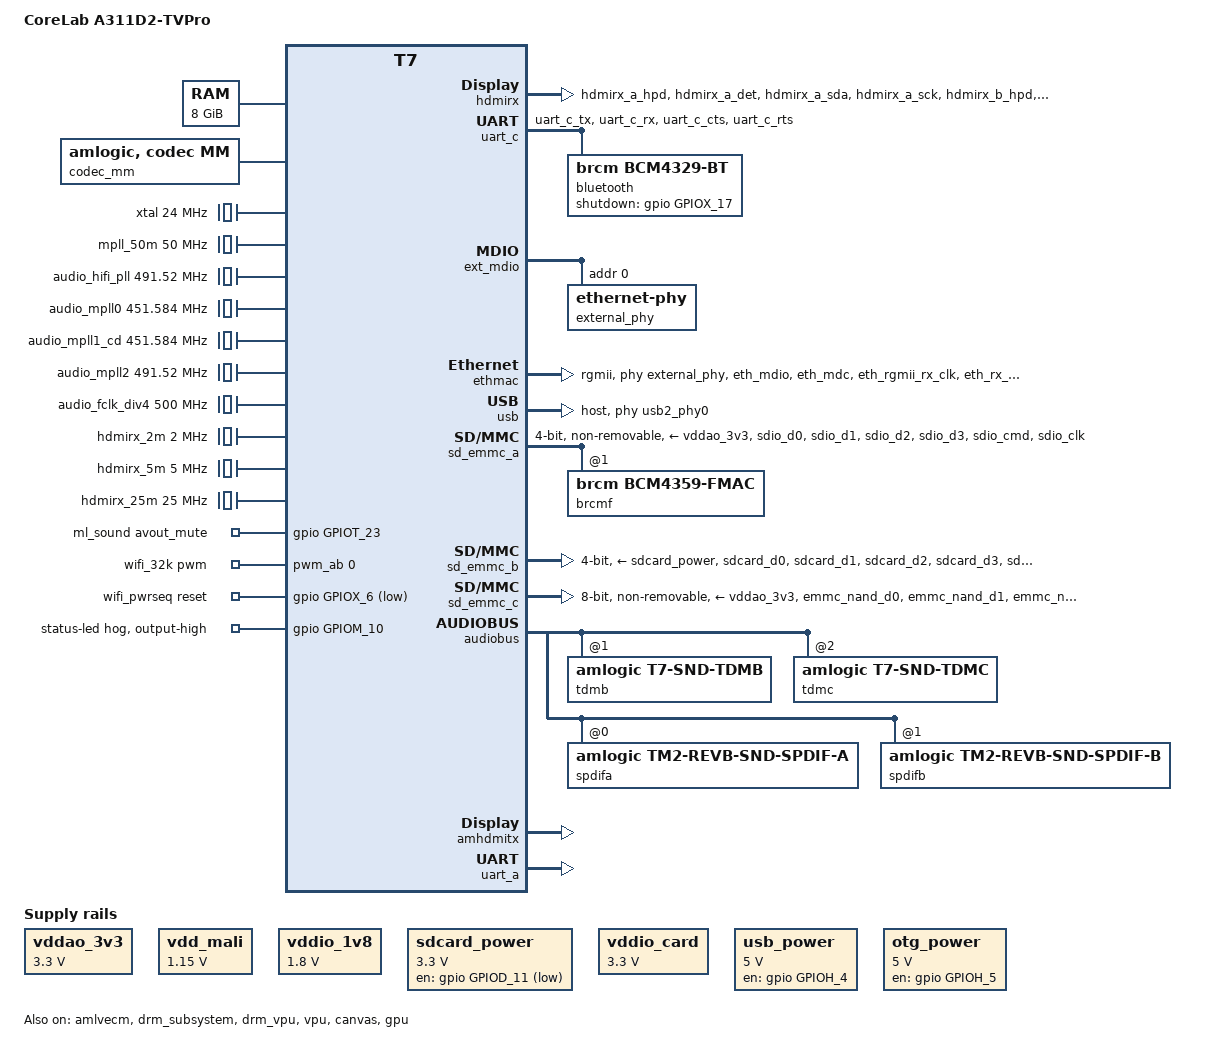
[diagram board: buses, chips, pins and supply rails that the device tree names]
// SPDX-License-Identifier: (GPL-2.0+ OR MIT)
/*
 * Minimal Linux v7.1 TVPRO bring-up device tree.
 *
 * This intentionally starts from upstream T7 support and only carries the
 * board data needed before enabling the 5.15 vendor multimedia stack.
 */

/dts-v1/;

#include <dt-bindings/clock/amlogic,t7-peripherals-clkc.h>
#include <dt-bindings/gpio/amlogic,t7-periphs-pinctrl.h>
#include <dt-bindings/gpio/gpio.h>
#include "amlogic-t7.dtsi"

/ {
	model = "CoreLab A311D2-TVPro";
	compatible = "corelab,a311d2-tvpro", "amlogic,a311d2", "amlogic,t7";

	aliases {
		ethernet0 = &ethmac;
		serial0 = &uart_a;
		serial1 = &uart_c;
		mmc0 = &sd_emmc_c;
		mmc1 = &sd_emmc_b;
		mmc2 = &sd_emmc_a;
	};

	chosen {
		stdout-path = "serial0:921600n8";
	};

	memory@0 {
		device_type = "memory";
		reg = <0x0 0x0 0x0 0xe0000000
		       0x1 0x0 0x0 0xe0000000
		       0x2 0x0 0x0 0x40000000>; /* 8 GB */
		linux,usable-memory = <0x0 0x0 0x0 0xe0000000
				       0x1 0x0 0x0 0xe0000000
				       0x2 0x0 0x0 0x40000000>;
	};

	reserved-memory {
		#address-cells = <2>;
		#size-cells = <2>;
		ranges;

		ramoops@8400000 {
			compatible = "ramoops";
			reg = <0x0 0x08400000 0x0 0x00100000>;
			record-size = <0x20000>;
			console-size = <0x40000>;
			ftrace-size = <0x80000>;
			pmsg-size = <0x20000>;
		};

		logo_reserved: linux,meson-fb {
			compatible = "amlogic, meson-fb";
			reusable;
			size = <0x0 0x00800000>;
			alignment = <0x0 0x00400000>;
			reg = <0x0 0x3f800000 0x0 0x00800000>;
		};

		codec_mm_cma: linux,codec_mm_cma {
			compatible = "shared-dma-pool";
			reusable;
			size = <0x0 0x40000000>;
			alignment = <0x0 0x00400000>;
			linux,contiguous-region;
			alloc-ranges = <0x0 0x0 0x0 0xe0000000>;
			clear-map;
		};

		vdin1_cma_reserved: linux,vdin1_cma {
			compatible = "shared-dma-pool";
			reusable;
			size = <0x0 0x20000000>;
			alignment = <0x0 0x00400000>;
			alloc-ranges = <0x0 0x0 0x0 0xe0000000>;
		};

		/* Vendor U-Boot hardcodes this node path during rsvmem check. */
		secmon_reserved: linux,secmon {
			compatible = "shared-dma-pool";
			no-map;
			size = <0x0 0x03400000>;
			alignment = <0x0 0x00400000>;
			alloc-ranges = <0x0 0x05000000 0x0 0x03400000>;
		};
	};

	partitions: partitions {
		parts = <1>;
		part-0 = <&rootfs>;

		rootfs: rootfs {
			pname = "rootfs";
			size = <0xffffffff 0xffffffff>;
			mask = <4>;
		};
	};

	secmon {
		compatible = "amlogic, secmon";
		memory-region = <&secmon_reserved>;
		in_base_func = <0x82000020>;
		out_base_func = <0x82000021>;
		inout_size_func = <0x8200002a>;
		reserve_mem_size = <0x03300000>;
	};

	codec_mm {
		compatible = "amlogic, codec, mm";
		memory-region = <&codec_mm_cma>;
		dev_name = "codec_mm";
		status = "okay";
	};

	canvas: canvas {
		compatible = "amlogic, meson, canvas";
		dev_name = "amlogic-canvas";
		status = "okay";
		reg = <0x0 0xfe036048 0x0 0x2000>;
	};

	meson_uvm {
		compatible = "amlogic, meson_uvm";
		status = "okay";
	};

	meson_videotunnel {
		compatible = "amlogic, meson_videotunnel";
		status = "okay";
	};

	video_composer {
		compatible = "amlogic, video_composer";
		dev_name = "video_composer";
		status = "okay";
	};

	amvideom: meson-amvideom {
		compatible = "amlogic, amvideom-t7";
		dev_name = "amvideom";
		status = "okay";
		interrupts = <GIC_SPI 197 IRQ_TYPE_EDGE_RISING>,
			     <GIC_SPI 194 IRQ_TYPE_EDGE_RISING>,
			     <GIC_SPI 82 IRQ_TYPE_EDGE_RISING>;
		interrupt-names = "vsync", "vsync_viu2", "vsync_viu3";
	};

	vpu_security {
		compatible = "amlogic, meson-t7, vpu_security";
		dev_name = "amlogic-vpu-security";
		status = "okay";
		interrupts = <GIC_SPI 220 IRQ_TYPE_EDGE_RISING>;
		interrupt-names = "vpu_security";
	};

	xtal: xtal-clk {
		compatible = "fixed-clock";
		clock-frequency = <24000000>;
		clock-output-names = "xtal";
		#clock-cells = <0>;
	};

	/* Temporary parent clocks until the full T7 SCMI/PLL map is safe to enable. */
	sys_clk: sys-clk {
		compatible = "fixed-clock";
		clock-frequency = <166666666>;
		clock-output-names = "sys";
		#clock-cells = <0>;
	};

	fixed_pll: fixed-pll-clk {
		compatible = "fixed-clock";
		clock-frequency = <2000000000>;
		clock-output-names = "fix";
		#clock-cells = <0>;
	};

	fdiv2: fdiv2-clk {
		compatible = "fixed-clock";
		clock-frequency = <1000000000>;
		clock-output-names = "fdiv2";
		#clock-cells = <0>;
	};

	fdiv2p5: fdiv2p5-clk {
		compatible = "fixed-clock";
		clock-frequency = <800000000>;
		clock-output-names = "fdiv2p5";
		#clock-cells = <0>;
	};

	fdiv3: fdiv3-clk {
		compatible = "fixed-clock";
		clock-frequency = <666666666>;
		clock-output-names = "fdiv3";
		#clock-cells = <0>;
	};

	fdiv4: fdiv4-clk {
		compatible = "fixed-clock";
		clock-frequency = <500000000>;
		clock-output-names = "fdiv4";
		#clock-cells = <0>;
	};

	fdiv5: fdiv5-clk {
		compatible = "fixed-clock";
		clock-frequency = <400000000>;
		clock-output-names = "fdiv5";
		#clock-cells = <0>;
	};

	fdiv7: fdiv7-clk {
		compatible = "fixed-clock";
		clock-frequency = <285714285>;
		clock-output-names = "fdiv7";
		#clock-cells = <0>;
	};

	hifi: hifi-clk {
		compatible = "fixed-clock";
		clock-frequency = <500000000>;
		clock-output-names = "hifi";
		#clock-cells = <0>;
	};

	gp0: gp0-clk {
		compatible = "fixed-clock";
		clock-frequency = <1000000000>;
		clock-output-names = "gp0";
		#clock-cells = <0>;
	};

	gp1: gp1-clk {
		compatible = "fixed-clock";
		clock-frequency = <1000000000>;
		clock-output-names = "gp1";
		#clock-cells = <0>;
	};

	mpll1: mpll1-clk {
		compatible = "fixed-clock";
		clock-frequency = <500000000>;
		clock-output-names = "mpll1";
		#clock-cells = <0>;
	};

	mpll2: mpll2-clk {
		compatible = "fixed-clock";
		clock-frequency = <500000000>;
		clock-output-names = "mpll2";
		#clock-cells = <0>;
	};

	mpll_50m: mpll-50m-clk {
		compatible = "fixed-clock";
		clock-frequency = <50000000>;
		clock-output-names = "mpll_50m";
		#clock-cells = <0>;
	};

	audio_hifi_pll: audio-hifi-pll-clk {
		compatible = "fixed-clock";
		clock-frequency = <491520000>;
		clock-output-names = "hifi_pll";
		#clock-cells = <0>;
	};

	audio_mpll0: audio-mpll0-clk {
		compatible = "fixed-clock";
		clock-frequency = <451584000>;
		clock-output-names = "mpll0";
		#clock-cells = <0>;
	};

	audio_mpll1_cd: audio-mpll1-cd-clk {
		compatible = "fixed-clock";
		clock-frequency = <451584000>;
		clock-output-names = "mpll1_cd";
		#clock-cells = <0>;
	};

	audio_mpll2: audio-mpll2-clk {
		compatible = "fixed-clock";
		clock-frequency = <491520000>;
		clock-output-names = "mpll2";
		#clock-cells = <0>;
	};

	audio_fclk_div4: audio-fclk-div4-clk {
		compatible = "fixed-clock";
		clock-frequency = <500000000>;
		clock-output-names = "fclk_div4";
		#clock-cells = <0>;
	};

	hdmirx_2m: hdmirx-2m-clk {
		compatible = "fixed-clock";
		clock-frequency = <2000000>;
		clock-output-names = "hdmirx_2m";
		#clock-cells = <0>;
	};

	hdmirx_5m: hdmirx-5m-clk {
		compatible = "fixed-clock";
		clock-frequency = <5000000>;
		clock-output-names = "hdmirx_5m";
		#clock-cells = <0>;
	};

	hdmirx_25m: hdmirx-25m-clk {
		compatible = "fixed-clock";
		clock-frequency = <25000000>;
		clock-output-names = "hdmirx_25m";
		#clock-cells = <0>;
	};

	ml_sound: auge-sound {
		compatible = "amlogic, auge-sound-card";
		aml-audio-card,name = "AML-AUGESOUND";
		avout_mute-gpios = <&gpio GPIOT_23 GPIO_ACTIVE_HIGH>;
		interrupts = <GIC_SPI 51 IRQ_TYPE_EDGE_RISING>;
		interrupt-names = "audio_exception64";
		#address-cells = <1>;
		#size-cells = <0>;
		status = "okay";

		aml-audio-card,dai-link@0 {
			reg = <0>;
			format = "i2s";
			mclk-fs = <256>;
			bitclock-master = <&tdmc>;
			frame-master = <&tdmc>;
			suffix-name = "alsaPORT-i2s4parser";

			cpu {
				sound-dai = <&tdmc>;
				dai-tdm-slot-tx-mask = <1 1>;
				dai-tdm-slot-rx-mask = <1 1>;
				dai-tdm-slot-num = <2>;
				dai-tdm-slot-width = <32>;
				system-clock-frequency = <12288000>;
			};

			codec {
				sound-dai = <&dummy_codec>;
			};
		};

		aml-audio-card,dai-link@1 {
			reg = <1>;
			mclk-fs = <128>;
			continuous-clock;
			suffix-name = "alsaPORT-spdif";

			cpu {
				sound-dai = <&spdifa>;
				system-clock-frequency = <6144000>;
			};

			codec {
				sound-dai = <&dummy_codec>;
			};
		};

		aml-audio-card,dai-link@2 {
			reg = <2>;
			format = "i2s";
			mclk-fs = <256>;
			continuous-clock;
			bitclock-master = <&tdmb>;
			frame-master = <&tdmb>;
			suffix-name = "alsaPORT-i2s-acodec";

			cpu {
				sound-dai = <&tdmb>;
				dai-tdm-slot-tx-mask = <1 1>;
				dai-tdm-slot-rx-mask = <1 1>;
				dai-tdm-slot-num = <2>;
				dai-tdm-slot-width = <32>;
				system-clock-frequency = <12288000>;
			};

			codec {
				sound-dai = <&acodec>;
			};
		};

		aml-audio-card,dai-link@3 {
			reg = <3>;
			mclk-fs = <128>;
			suffix-name = "alsaPORT-spdifb";

			cpu {
				sound-dai = <&spdifb>;
				system-clock-frequency = <6144000>;
			};

			codec {
				sound-dai = <&dummy_codec>;
			};
		};

	};

	vddao_3v3: regulator-vddao-3v3 {
		compatible = "regulator-fixed";
		regulator-name = "VDDAO_3V3";
		regulator-min-microvolt = <3300000>;
		regulator-max-microvolt = <3300000>;
		regulator-always-on;
	};

	vdd_mali: regulator-vdd-mali {
		compatible = "regulator-fixed";
		regulator-name = "VDD_MALI";
		regulator-min-microvolt = <1150000>;
		regulator-max-microvolt = <1150000>;
		regulator-always-on;
	};

	vddio_1v8: regulator-vddio-1v8 {
		compatible = "regulator-fixed";
		regulator-name = "VDDIO_1V8";
		regulator-min-microvolt = <1800000>;
		regulator-max-microvolt = <1800000>;
		regulator-always-on;
	};

	sdcard_power: regulator-sdcard-power {
		compatible = "regulator-fixed";
		regulator-name = "SDCARD_POWER";
		regulator-min-microvolt = <3300000>;
		regulator-max-microvolt = <3300000>;
		gpio = <&gpio GPIOD_11 GPIO_ACTIVE_LOW>;
		regulator-boot-on;
	};

	vddio_card: regulator-vddio-card {
		compatible = "regulator-gpio";
		regulator-name = "VDDIO_CARD";
		regulator-min-microvolt = <3300000>;
		regulator-max-microvolt = <3300000>;
		gpios = <&gpio GPIOD_9 GPIO_ACTIVE_HIGH>;
		gpios-states = <0>;
		states = <1800000 1>,
			 <3300000 0>;
		regulator-boot-on;
	};

	wifi_32k: wifi-32k-clock {
		compatible = "pwm-clock";
		#clock-cells = <0>;
		clock-frequency = <32768>;
		clock-output-names = "wifi_32k";
		pwms = <&pwm_ab 0 30518 0>;
	};

	wifi_pwrseq: wifi-pwrseq {
		compatible = "mmc-pwrseq-simple";
		clocks = <&wifi_32k>;
		clock-names = "ext_clock";
		reset-gpios = <&gpio GPIOX_6 GPIO_ACTIVE_LOW>;
		post-power-on-delay-ms = <200>;
	};

	usb_power: regulator-usb-power {
		compatible = "regulator-fixed";
		regulator-name = "USB_POWER";
		regulator-min-microvolt = <5000000>;
		regulator-max-microvolt = <5000000>;
		gpio = <&gpio GPIOH_4 GPIO_ACTIVE_HIGH>;
		enable-active-high;
		regulator-boot-on;
		regulator-always-on;
	};

	otg_power: regulator-otg-power {
		compatible = "regulator-fixed";
		regulator-name = "OTG_POWER";
		regulator-min-microvolt = <5000000>;
		regulator-max-microvolt = <5000000>;
		gpio = <&gpio GPIOH_5 GPIO_ACTIVE_HIGH>;
		enable-active-high;
		regulator-boot-on;
		regulator-always-on;
	};

};

&{/} {
	thermal-zones {
		a73_thermal: a73-thermal {
			polling-delay = <1000>;
			polling-delay-passive = <100>;
			thermal-sensors = <&a73_temp>;

			trips {
				a73_passive: a73-passive {
					temperature = <85000>;
					hysteresis = <2000>;
					type = "passive";
				};

				a73_hot: a73-hot {
					temperature = <95000>;
					hysteresis = <2000>;
					type = "hot";
				};

				a73_critical: a73-critical {
					temperature = <110000>;
					hysteresis = <2000>;
					type = "critical";
				};
			};
		};

		a53_thermal: a53-thermal {
			polling-delay = <1000>;
			polling-delay-passive = <100>;
			thermal-sensors = <&a53_temp>;

			trips {
				a53_passive: a53-passive {
					temperature = <85000>;
					hysteresis = <2000>;
					type = "passive";
				};

				a53_hot: a53-hot {
					temperature = <95000>;
					hysteresis = <2000>;
					type = "hot";
				};

				a53_critical: a53-critical {
					temperature = <110000>;
					hysteresis = <2000>;
					type = "critical";
				};
			};
		};
	};

	gpu: gpu@fe400000 {
		compatible = "amlogic,meson-t7-mali", "arm,mali-bifrost";
		reg = <0x0 0xfe400000 0x0 0x4000>;
		interrupt-parent = <&gic>;
		interrupts = <GIC_SPI 146 IRQ_TYPE_LEVEL_HIGH>,
			     <GIC_SPI 145 IRQ_TYPE_LEVEL_HIGH>,
			     <GIC_SPI 144 IRQ_TYPE_LEVEL_HIGH>;
		interrupt-names = "job", "mmu", "gpu";
		clocks = <&clkc_periphs CLKID_MALI>;
		mali-supply = <&vdd_mali>;
		operating-points-v2 = <&gpu_opp_table>;
		power-domains = <&pwrc PWRC_T7_MALI_TOP_ID>;
		resets = <&reset RESET_MALI_CAPB3>, <&reset RESET_MALI>;
		#cooling-cells = <2>;

		assigned-clocks = <&clkc_periphs CLKID_MALI_0_SEL>,
				  <&clkc_periphs CLKID_MALI_0>,
				  <&clkc_periphs CLKID_MALI>;
		assigned-clock-parents = <&fdiv2p5>,
					 <0>,
					 <&clkc_periphs CLKID_MALI_0>;
		assigned-clock-rates = <0>, <800000000>, <0>;
		status = "okay";
	};

	hdmirx: hdmirx {
		compatible = "amlogic, hdmirx_t7";
		status = "okay";
		pinctrl-names = "hdmirx_pins";
		pinctrl-0 = <&hdmirx_a_mux &hdmirx_b_mux &hdmirx_c_mux>;
		repeat = <0>;
		power-domains = <&pwrc PWRC_T7_HDMIRX_ID>;
		interrupts = <GIC_SPI 57 IRQ_TYPE_LEVEL_HIGH>;
		clocks = <&mpll_50m>,
			 <&xtal>,
			 <&xtal>,
			 <&hdmirx_2m>,
			 <&hdmirx_5m>,
			 <&hdmirx_25m>,
			 <&xtal>,
			 <&fdiv4>,
			 <&fdiv5>;
		clock-names = "hdmirx_cfg_clk",
			      "cts_hdmirx_acr_ref_clk",
			      "cts_hdmirx_meter_clk",
			      "cts_hdmirx_2m_clk",
			      "cts_hdmirx_5m_clk",
			      "cts_hdmirx_hdcp2x_eclk",
			      "xtal",
			      "fclk_div4",
			      "fclk_div5";
		hdmirx_id = <0>;
		en_4k_2_2k = <0>;
		hpd_low_cec_off = <1>;
		arc_port = <1>;
		disable_port = <0x0>;
		/* Keep the 5.15 vendor register-map order. */
		reg = <0x0 0x0 0x0 0x0
		       0x0 0xff63c000 0x0 0x2000
		       0x0 0xffe0d000 0x0 0x2000
		       0x0 0x0 0x0 0x0
		       0x0 0x0 0x0 0x0
		       0x0 0x0 0x0 0x0
		       0x0 0xfe398000 0x0 0x18000
		       0x0 0xfe000000 0x0 0x1fff>;
	};

	vdin0: vdin0 {
		compatible = "amlogic, vdin-t7";
		dev_name = "vdin0";
		status = "okay";
		reserve-iomap = "true";
		flag_cma = <0x101>;
		cma_size = <280>;
		frame_buff_num = <10>;
		interrupts = <GIC_SPI 210 IRQ_TYPE_EDGE_RISING>,
			     <GIC_SPI 214 IRQ_TYPE_EDGE_RISING>;
		interrupt-names = "vsync_int",
				  "mif2_meta_wr_done_int";
		rdma-irq = <2>;
		clocks = <&fdiv5>, <&clkc_periphs CLKID_VDIN_MEAS_GATE>;
		clock-names = "fclk_div5", "cts_vdin_meas_clk";
		vdin_id = <0>;
		tv_bit_mode = <0x235>;
		afbce_bit_mode = <0x11>;
		v4l_support_en = <0>;
		v4l_vd_num = <70>;
		driver = "vdin_video";
		card = "mesont7";
		bus_info = "vdin0 v4l2";
		version = <0x20220120>;
		fe_ports = <0x00001001
			    0x00004000
			    0x00004001
			    0x00004002>;
		vdin_function_sel = <0x101>;
		double_write_en;
		urgent_en;
	};

	vdin1: vdin1 {
		compatible = "amlogic, vdin-t7";
		dev_name = "vdin1";
		status = "okay";
		reserve-iomap = "true";
		memory-region = <&vdin1_cma_reserved>;
		flag_cma = <0>;
		interrupts = <GIC_SPI 212 IRQ_TYPE_EDGE_RISING>;
		interrupt-names = "vsync_int";
		rdma-irq = <4>;
		vdin_id = <1>;
		tv_bit_mode = <0x15>;
		v4l_support_en = <0>;
		v4l_vd_num = <71>;
		driver = "vdin_video";
		card = "mesont7";
		bus_info = "vdin1 v4l2";
		version = <0x20220120>;
		fe_ports = <0x0000a002
			    0x0000a003
			    0x0000a004
			    0x0000a005
			    0x0000a006
			    0x0000a007
			    0x0000a008>;
		vdin_function_sel = <0x400>;
	};
};

&apb4 {
	clkc_periphs: clock-controller@0 {
		compatible = "amlogic,t7-peripherals-clkc";
		reg = <0x0 0x0 0x0 0x1c8>;
		#clock-cells = <1>;
		clocks = <&xtal>,
			 <&sys_clk>,
			 <&fixed_pll>,
			 <&fdiv2>,
			 <&fdiv2p5>,
			 <&fdiv3>,
			 <&fdiv4>,
			 <&fdiv5>,
			 <&fdiv7>,
			 <&hifi>,
			 <&gp0>,
			 <&gp1>,
			 <&mpll1>,
			 <&mpll2>;
		clock-names = "xtal",
			      "sys",
			      "fix",
			      "fdiv2",
			      "fdiv2p5",
			      "fdiv3",
			      "fdiv4",
			      "fdiv5",
			      "fdiv7",
			      "hifi",
			      "gp0",
			      "gp1",
			      "mpll1",
			      "mpll2";
	};

	uart_c: serial@7c000 {
		compatible = "amlogic,t7-uart", "amlogic,meson-s4-uart";
		reg = <0x0 0x7c000 0x0 0x18>;
		interrupts = <GIC_SPI 170 IRQ_TYPE_EDGE_RISING>;
		status = "disabled";
	};

	eth_phy: mdio-multiplexer@28000 {
		compatible = "amlogic,g12a-mdio-mux";
		reg = <0x0 0x28000 0x0 0xa4>;
		clocks = <&clkc_periphs CLKID_SYS_ETHPHY>,
			 <&xtal>,
			 <&mpll_50m>;
		clock-names = "pclk", "clkin0", "clkin1";
		mdio-parent-bus = <&mdio0>;
		#address-cells = <1>;
		#size-cells = <0>;

		ext_mdio: mdio@0 {
			reg = <0>;
			#address-cells = <1>;
			#size-cells = <0>;

			external_phy: ethernet-phy@0 {
				reg = <0>;
				max-speed = <1000>;
				reset-assert-us = <20000>;
				reset-deassert-us = <50000>;
			};
		};
	};
};

&gpio {
	status_led_hog: status-led-hog {
		gpio-hog;
		gpios = <GPIOM_10 GPIO_ACTIVE_HIGH>;
		output-high;
		line-name = "status-led";
	};
};

&periphs_pinctrl {
	eth_pins: eth-pins {
		mux {
			groups = "eth_mdio",
				 "eth_mdc",
				 "eth_rgmii_rx_clk",
				 "eth_rx_dv",
				 "eth_rxd0",
				 "eth_rxd1",
				 "eth_txen",
				 "eth_txd0",
				 "eth_txd1";
			function = "eth";
			bias-disable;
			drive-strength-microamp = <4000>;
		};
	};

	eth_rgmii_pins: eth-rgmii-pins {
		mux {
			groups = "eth_rxd2_rgmii",
				 "eth_rxd3_rgmii",
				 "eth_rgmii_tx_clk",
				 "eth_txd2_rgmii",
				 "eth_txd3_rgmii";
			function = "eth";
			bias-disable;
			drive-strength-microamp = <4000>;
		};
	};

	hdmirx_a_mux: hdmirx-a-mux {
		mux {
			groups = "hdmirx_a_hpd",
				 "hdmirx_a_det",
				 "hdmirx_a_sda",
				 "hdmirx_a_sck";
			function = "hdmirx_a";
		};
	};

	hdmirx_b_mux: hdmirx-b-mux {
		mux {
			groups = "hdmirx_b_hpd",
				 "hdmirx_b_det",
				 "hdmirx_b_sda",
				 "hdmirx_b_sck";
			function = "hdmirx_b";
		};
	};

	hdmirx_c_mux: hdmirx-c-mux {
		mux {
			groups = "hdmirx_c_hpd",
				 "hdmirx_c_det",
				 "hdmirx_c_sda",
				 "hdmirx_c_sck";
			function = "hdmirx_c";
		};
	};

	sdcard_pins: sdcard-pins {
		mux {
			groups = "sdcard_d0",
				 "sdcard_d1",
				 "sdcard_d2",
				 "sdcard_d3",
				 "sdcard_cmd";
			function = "sdcard";
			bias-pull-up;
			drive-strength-microamp = <4000>;
		};

		mux-clk {
			groups = "sdcard_clk";
			function = "sdcard";
			bias-pull-up;
			drive-strength-microamp = <4000>;
		};
	};

	sdcard_clk_gate_pins: sdcard-clk-gate-pins {
		mux {
			groups = "GPIOC_4";
			function = "gpio_periphs";
			bias-pull-down;
			drive-strength-microamp = <4000>;
		};
	};

	emmc_pins: emmc-pins {
		mux {
			groups = "emmc_nand_d0",
				 "emmc_nand_d1",
				 "emmc_nand_d2",
				 "emmc_nand_d3",
				 "emmc_nand_d4",
				 "emmc_nand_d5",
				 "emmc_nand_d6",
				 "emmc_nand_d7",
				 "emmc_cmd";
			function = "emmc";
			bias-pull-up;
			drive-strength-microamp = <4000>;
		};
	};

	emmc_clk_pins: emmc-clk-pins {
		mux {
			groups = "emmc_clk";
			function = "emmc";
			bias-disable;
			drive-strength-microamp = <4000>;
		};
	};

	emmc_ds_pins: emmc-ds-pins {
		mux {
			groups = "emmc_nand_ds";
			function = "emmc";
			bias-pull-down;
			drive-strength-microamp = <4000>;
		};
	};

	emmc_clk_gate_pins: emmc-clk-gate-pins {
		mux {
			groups = "GPIOB_8";
			function = "gpio_periphs";
			bias-pull-down;
			drive-strength-microamp = <4000>;
		};
	};

	sdio_pins: sdio-pins {
		mux {
			groups = "sdio_d0",
				 "sdio_d1",
				 "sdio_d2",
				 "sdio_d3",
				 "sdio_cmd";
			function = "sdio";
			bias-pull-up;
			drive-strength-microamp = <4000>;
		};

		mux-clk {
			groups = "sdio_clk";
			function = "sdio";
			bias-pull-up;
			drive-strength-microamp = <4000>;
		};
	};

	sdio_clk_gate_pins: sdio-clk-gate-pins {
		mux {
			groups = "GPIOX_4";
			function = "gpio_periphs";
			bias-pull-down;
			drive-strength-microamp = <4000>;
		};
	};

	uart_c_pins: uart-c-pins {
		mux {
			groups = "uart_c_tx",
				 "uart_c_rx",
				 "uart_c_cts",
				 "uart_c_rts";
			function = "uart_c";
			bias-disable;
		};
	};

	mclk_1_pins: mclk-1-pins {
		mux {
			groups = "mclk1";
			function = "mclk";
		};
	};

	tdm_b_pins: tdm-b-pins {
		mux {
			groups = "tdm_sclk1",
				 "tdm_fs1",
				 "tdm_d4",
				 "tdm_d5";
			function = "tdm";
		};
	};
};

&pinctrl_audio {
	tdm_d4_pins: tdm-d4-pins {
		mux {
			groups = "tdm_d4";
			function = "tdmoutb_lane0";
		};
	};

	tdm_d5_pins: tdm-d5-pins {
		mux {
			groups = "tdm_d5";
			function = "tdminb_lane0";
		};
	};

	tdmb_clk_pins: tdmb-clk-pins {
		mux {
			groups = "tdm_sclk1", "tdm_lrclk1";
			function = "tdm_clk_outb";
		};
	};
};

&{/soc} {
	a73_temp: temperature-sensor@fe020000 {
		compatible = "amlogic,t7-thermal";
		reg = <0x0 0xfe020000 0x0 0x50>;
		interrupts = <GIC_SPI 31 IRQ_TYPE_LEVEL_HIGH>;
		clocks = <&clkc_periphs CLKID_TS>;
		assigned-clocks = <&clkc_periphs CLKID_TS>;
		assigned-clock-rates = <500000>;
		#thermal-sensor-cells = <0>;
		amlogic,thermal-sensor-id = <1>;
		secure-monitor = <&sm>;
	};

	a53_temp: temperature-sensor@fe022000 {
		compatible = "amlogic,t7-thermal";
		reg = <0x0 0xfe022000 0x0 0x50>;
		interrupts = <GIC_SPI 30 IRQ_TYPE_LEVEL_HIGH>;
		clocks = <&clkc_periphs CLKID_TS>;
		assigned-clocks = <&clkc_periphs CLKID_TS>;
		assigned-clock-rates = <500000>;
		#thermal-sensor-cells = <0>;
		amlogic,thermal-sensor-id = <2>;
		secure-monitor = <&sm>;
	};

	ethmac: ethernet@fdc00000 {
		compatible = "amlogic,meson-g12a-dwmac",
			     "snps,dwmac-4.00",
			     "snps,dwmac";
		reg = <0x0 0xfdc00000 0x0 0x10000>,
		      <0x0 0xfe024000 0x0 0x8>;
		interrupts = <GIC_SPI 74 IRQ_TYPE_LEVEL_HIGH>;
		interrupt-names = "macirq";
		clocks = <&clkc_periphs CLKID_SYS_ETH>,
			 <&fdiv2>,
			 <&mpll2>;
		clock-names = "stmmaceth", "clkin0", "clkin1";
		power-domains = <&pwrc PWRC_T7_ETH_ID>;
		pinctrl-0 = <&eth_pins>, <&eth_rgmii_pins>;
		pinctrl-names = "default";
		phy-mode = "rgmii";
		phy-handle = <&external_phy>;
		amlogic,tx-delay-ns = <2>;
		rx-internal-delay-ps = <2000>;
		internal_phy = <2>;
		mc_val = <0x1621>;
		cali_val = <0xa0000>;
		rx-fifo-depth = <4096>;
		tx-fifo-depth = <2048>;
		status = "okay";

		mdio0: mdio {
			compatible = "snps,dwmac-mdio";
			#address-cells = <1>;
			#size-cells = <0>;
		};
	};

	usb2_phy0: phy@fe03c000 {
		compatible = "amlogic,g12a-usb2-phy";
		reg = <0x0 0xfe03c000 0x0 0x2000>;
		clocks = <&xtal>;
		clock-names = "xtal";
		resets = <&reset RESET_U2PHY20>;
		reset-names = "phy";
		power-domains = <&pwrc PWRC_T7_USB_COMB_ID>;
		phy-supply = <&usb_power>;
		#phy-cells = <0>;
	};

	usb2_phy1: phy@fe03e000 {
		compatible = "amlogic,g12a-usb2-phy";
		reg = <0x0 0xfe03e000 0x0 0x2000>;
		clocks = <&xtal>;
		clock-names = "xtal";
		resets = <&reset RESET_U2PHY21>;
		reset-names = "phy";
		power-domains = <&pwrc PWRC_T7_USB_COMB_ID>;
		phy-supply = <&otg_power>;
		#phy-cells = <0>;
	};

	usb: usb@fe03a000 {
		compatible = "amlogic,meson-g12a-usb-ctrl";
		reg = <0x0 0xfe03a000 0x0 0xa0>;
		interrupts = <GIC_SPI 129 IRQ_TYPE_EDGE_RISING>;
		#address-cells = <2>;
		#size-cells = <2>;
		ranges;

		clocks = <&clkc_periphs CLKID_SYS_USB>;
		resets = <&reset RESET_USB>;
		power-domains = <&pwrc PWRC_T7_USB_COMB_ID>;

		dr_mode = "host";

		phys = <&usb2_phy0>, <&usb2_phy1>;
		phy-names = "usb2-phy0", "usb2-phy1";

		xhci2: usb@fdd00000 {
			compatible = "amlogic,t7-crg-xhci", "generic-xhci";
			reg = <0x0 0xfdd00000 0x0 0x8000>;
			interrupts = <GIC_SPI 131 IRQ_TYPE_EDGE_RISING>;
			clocks = <&clkc_periphs CLKID_SYS_USB>;
			clock-names = "core";
			dr_mode = "host";
			usb2-lpm-disable;
		};

		xhci3: usb@fde00000 {
			compatible = "amlogic,t7-crg-xhci", "generic-xhci";
			reg = <0x0 0xfde00000 0x0 0x8000>;
			interrupts = <GIC_SPI 130 IRQ_TYPE_EDGE_RISING>;
			clocks = <&clkc_periphs CLKID_SYS_USB>;
			clock-names = "core";
			dr_mode = "host";
			usb2-lpm-disable;
		};
	};

	sd_emmc_a: mmc@fe088000 {
		compatible = "amlogic,t7-mmc", "amlogic,meson-axg-mmc";
		reg = <0x0 0xfe088000 0x0 0x800>;
		interrupts = <GIC_SPI 176 IRQ_TYPE_LEVEL_HIGH>;
		clocks = <&clkc_periphs CLKID_SYS_SD_EMMC_A>,
			 <&clkc_periphs CLKID_SD_EMMC_A>,
			 <&fdiv2>;
		clock-names = "core", "clkin0", "clkin1";
		resets = <&reset RESET_SD_EMMC_A>;
		power-domains = <&pwrc PWRC_T7_SDIO_A_ID>;
		pinctrl-0 = <&sdio_pins>;
		pinctrl-1 = <&sdio_clk_gate_pins>;
		pinctrl-names = "default", "clk-gate";
		bus-width = <4>;
		cap-sd-highspeed;
		cap-sdio-irq;
		max-frequency = <50000000>;
		non-removable;
		disable-wp;
		keep-power-in-suspend;
		no-mmc;
		no-sd;
		mmc-pwrseq = <&wifi_pwrseq>;
		vmmc-supply = <&vddao_3v3>;
		vqmmc-supply = <&vddio_1v8>;
		#address-cells = <1>;
		#size-cells = <0>;
		status = "okay";

		brcmf: wifi@1 {
			reg = <1>;
			compatible = "brcm,bcm4359-fmac", "brcm,bcm4329-fmac";
			brcm,board-type = "ap6398s";
			clocks = <&wifi_32k>;
			clock-names = "lpo";
		};
	};

	sd_emmc_b: mmc@fe08a000 {
		compatible = "amlogic,t7-mmc", "amlogic,meson-axg-mmc";
		reg = <0x0 0xfe08a000 0x0 0x800>;
		interrupts = <GIC_SPI 177 IRQ_TYPE_EDGE_RISING>;
		clocks = <&clkc_periphs CLKID_SYS_SD_EMMC_B>,
			 <&clkc_periphs CLKID_SD_EMMC_B>,
			 <&fdiv2>;
		clock-names = "core", "clkin0", "clkin1";
		resets = <&reset RESET_SD_EMMC_B>;
		power-domains = <&pwrc PWRC_T7_SDIO_B_ID>;
		pinctrl-0 = <&sdcard_pins>;
		pinctrl-1 = <&sdcard_clk_gate_pins>;
		pinctrl-names = "default", "clk-gate";
		bus-width = <4>;
		cap-sd-highspeed;
		max-frequency = <50000000>;
		assigned-clocks = <&clkc_periphs CLKID_SD_EMMC_B>;
		assigned-clock-rates = <24000000>;
		disable-wp;
		no-mmc;
		no-sdio;
		cd-gpios = <&gpio GPIOC_6 GPIO_ACTIVE_LOW>;
		vmmc-supply = <&sdcard_power>;
		vqmmc-supply = <&vddio_card>;
		status = "okay";
	};

	sd_emmc_c: mmc@fe08c000 {
		compatible = "amlogic,t7-mmc", "amlogic,meson-axg-mmc";
		reg = <0x0 0xfe08c000 0x0 0x800>;
		interrupts = <GIC_SPI 178 IRQ_TYPE_EDGE_RISING>;
		clocks = <&clkc_periphs CLKID_SYS_SD_EMMC_C>,
			 <&clkc_periphs CLKID_SD_EMMC_C>,
			 <&fdiv2>;
		clock-names = "core", "clkin0", "clkin1";
		resets = <&reset RESET_SD_EMMC_C>;
		power-domains = <&pwrc PWRC_T7_EMMC_ID>;
		pinctrl-0 = <&emmc_pins>, <&emmc_clk_pins>, <&emmc_ds_pins>;
		pinctrl-1 = <&emmc_clk_gate_pins>;
		pinctrl-names = "default", "clk-gate";
		bus-width = <8>;
		cap-mmc-highspeed;
		max-frequency = <50000000>;
		assigned-clocks = <&clkc_periphs CLKID_SD_EMMC_C>;
		assigned-clock-rates = <24000000>;
		non-removable;
		disable-wp;
		no-sd;
		no-sdio;
		vmmc-supply = <&vddao_3v3>;
		vqmmc-supply = <&vddio_1v8>;
		status = "okay";
	};
};

&audiobus {
	tdmb: tdm@1 {
		compatible = "amlogic, t7-snd-tdmb";
		#sound-dai-cells = <0>;
		dai-tdm-lane-slot-mask-in = <1 0 0 0>;
		dai-tdm-lane-slot-mask-out = <1 0 0 0>;
		dai-tdm-clk-sel = <1>;
		clocks = <&clkaudio CLKID_AUDIO_MCLK_B>,
			 <&clkaudio CLKID_AUDIO_MCLK_PAD1>,
			 <&audio_hifi_pll>,
			 <&audio_mpll1_cd>,
			 <&clkaudio CLKID_AUDIO_GATE_TDMINB>,
			 <&clkaudio CLKID_AUDIO_GATE_TDMOUTB>;
		clock-names = "mclk", "mclk_pad", "clk_srcpll", "clk_src_cd",
			      "gate_in", "gate_out";
		src-clk-freq = <491520000>;
		pinctrl-names = "tdm_pins";
		pinctrl-0 = <&mclk_1_pins>, <&tdm_b_pins>, <&tdm_d4_pins>,
			    <&tdm_d5_pins>, <&tdmb_clk_pins>;
		samesource_sel = <3>;
		tdmin-src-name = "acodec_adc";
		amlogic,playback-48k-only;
		amlogic,frddr-warmup-once;
		start_clk_enable = <1>;
		ctrl_gain = <1>;
		clk_tuning_enable = <1>;
		status = "okay";

		Channel_Mask {
			Spdif_samesource_Channel_Mask = "i2s_0/1";
		};
	};

	tdmc: tdm@2 {
		compatible = "amlogic, t7-snd-tdmc";
		#sound-dai-cells = <0>;
		dai-tdm-lane-slot-mask-in = <1 1 1 1>;
		dai-tdm-lane-slot-mask-out = <1 1 1 1>;
		dai-tdm-clk-sel = <2>;
		clocks = <&clkaudio CLKID_AUDIO_MCLK_C>,
			 <&audio_hifi_pll>,
			 <&audio_mpll2>,
			 <&clkaudio CLKID_AUDIO_GATE_TDMINC>,
			 <&clkaudio CLKID_AUDIO_GATE_TDMOUTC>;
		clock-names = "mclk", "clk_srcpll", "clk_src_cd",
			      "gate_in", "gate_out";
		src-clk-freq = <491520000>;
		tdmin-src-name = "hdmirx";
		i2s2hdmi = <1>;
		suspend-clk-off = <1>;
		amlogic,playback-48k-only;
		amlogic,frddr-warmup-once;
		status = "okay";
	};

	spdifa: spdif@0 {
		compatible = "amlogic, tm2-revb-snd-spdif-a";
		#sound-dai-cells = <0>;
		clocks = <&audio_hifi_pll>,
			 <&audio_mpll0>,
			 <&audio_fclk_div4>,
			 <&clkaudio CLKID_AUDIO_GATE_SPDIFIN>,
			 <&clkaudio CLKID_AUDIO_GATE_SPDIFOUT_A>,
			 <&clkaudio CLKID_AUDIO_SPDIFIN>,
			 <&clkaudio CLKID_AUDIO_SPDIFOUT_A>;
		clock-names = "sysclk", "clk_src_cd", "fixed_clk",
			      "gate_spdifin", "gate_spdifout",
			      "clk_spdifin", "clk_spdifout";
		src-clk-freq = <491520000>;
		interrupts = <GIC_SPI 35 IRQ_TYPE_EDGE_RISING>;
		interrupt-names = "irq_spdifin";
		suspend-clk-off = <1>;
		clk_tuning_enable = <1>;
		status = "okay";
	};

	spdifb: spdif@1 {
		compatible = "amlogic, tm2-revb-snd-spdif-b";
		#sound-dai-cells = <0>;
		clocks = <&audio_hifi_pll>,
			 <&audio_mpll2>,
			 <&clkaudio CLKID_AUDIO_GATE_SPDIFOUT_B>,
			 <&clkaudio CLKID_AUDIO_SPDIFOUT_B>;
		clock-names = "sysclk", "clk_src_cd",
			      "gate_spdifout", "clk_spdifout";
		suspend-clk-off = <1>;
		src-clk-freq = <491520000>;
		status = "okay";
	};
};

&acodec {
	dat0_ch_sel = <0>;
};

&amlvecm {
	status = "okay";
	gamma_en = <0>;
	wb_en = <0>;
	cm_en = <0>;
	wb_sel = <0>;
	vlock_en = <0>;
	vlock_mode = <0x8>;
	vlock_pll_m_limit = <1>;
	vlock_line_limit = <2>;
	vrr_priority = <1>;
};

&drm_subsystem {
	status = "okay";
	memory-region = <&logo_reserved>;
	crtc_masks = <1 7 1>;
	dummyl_from_hdmitx = /bits/ 8 <1>;
};

&drm_vpu {
	status = "okay";
};

&vpu {
	status = "okay";
};

&amhdmitx {
	repeater_tx = <0>;
	enc_idx = <2>;
	vrr_type = <1>;
	hdmi_repeater = <1>;
	hdcp_ctl_lvl = <1>;
	max_refreshrate = <240>;
	status = "okay";
};

&pwm_ab {
	pinctrl-0 = <&pwm_a_pins>;
	pinctrl-names = "default";
};

&uart_a {
	status = "okay";
	clocks = <&xtal>, <&xtal>, <&xtal>;
	clock-names = "xtal", "pclk", "baud";
};

&uart_c {
	status = "okay";
	uart-has-rtscts;
	pinctrl-0 = <&uart_c_pins>;
	pinctrl-names = "default";
	clocks = <&xtal>, <&clkc_periphs CLKID_SYS_UART_C>,
		 <&xtal>;
	clock-names = "xtal", "pclk", "baud";
	fifo-size = <64>;

	bluetooth {
		compatible = "brcm,bcm4329-bt";
		shutdown-gpios = <&gpio GPIOX_17 GPIO_ACTIVE_HIGH>;
		max-speed = <2000000>;
	};
};
